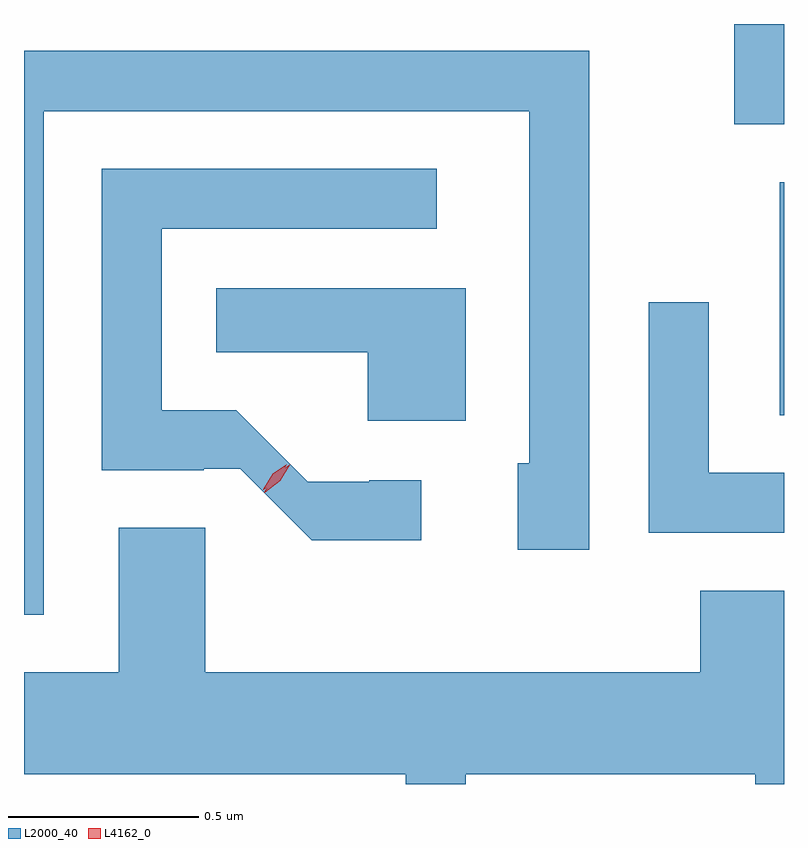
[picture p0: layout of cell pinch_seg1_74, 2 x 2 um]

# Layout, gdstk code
import gdstk
lib = gdstk.Library(unit=1e-6, precision=1e-09)
def R(c, l, rs):  # rectangles x0, y0, x1, y1
    for r in rs: c.add(gdstk.rectangle(r[:2], r[2:], *l))
def P(c, l, *ps):  # polygons
    for p in ps: c.add(gdstk.Polygon(p, *l))
L2000_40 = (2000, 40)
L4162_0 = (4162, 0)

pinch_seg1_74 = lib.new_cell('pinch_seg1_74')
R(pinch_seg1_74, L2000_40, [(1396.651,869.441,1396.662,870.054), (1396.531,870.206,1396.662,870.47)])
P(pinch_seg1_74, L2000_40, [(1394.714,870.241),(1395.991,870.241),(1395.991,869.314),(1395.961,869.314),(1395.961,869.086),(1396.149,869.086),(1396.149,870.399),(1394.662,870.399),(1394.662,868.916),(1394.714,868.916)],
  [(1395.708,869.269),(1395.57,869.269),(1395.57,869.266),(1395.409,869.266),(1395.221,869.454),(1395.024,869.454),(1395.024,869.931),(1395.748,869.931),(1395.748,870.089),(1394.866,870.089),(1394.866,869.296),(1395.135,869.296),(1395.135,869.299),(1395.231,869.299),(1395.419,869.111),(1395.708,869.111)],
  [(1395.824,869.774),(1395.168,869.774),(1395.168,869.606),(1395.566,869.606),(1395.566,869.426),(1395.824,869.426)],
  [(1396.662,869.289),(1396.464,869.289),(1396.464,869.738),(1396.306,869.738),(1396.306,869.131),(1396.662,869.131)],
  [(1395.824,868.496),(1396.586,868.496),(1396.586,868.47),(1396.662,868.47),(1396.662,868.979),(1396.441,868.979),(1396.441,868.764),(1395.139,868.764),(1395.139,869.144),(1394.911,869.144),(1394.911,868.764),(1394.662,868.764),(1394.662,868.496),(1395.666,868.496),(1395.666,868.47),(1395.824,868.47)])
P(pinch_seg1_74, L4162_0, [(1395.294,869.237),(1395.294,869.238),(1395.321,869.281),(1395.362,869.312),(1395.362,869.312),(1395.362,869.311),(1395.336,869.268),(1395.295,869.237)],
  [(1395.292,869.245),(1395.292,869.246),(1395.316,869.286),(1395.354,869.312),(1395.354,869.312),(1395.354,869.311),(1395.331,869.272),(1395.293,869.245)])

lib.write_gds('pinch_seg1_74.gds')
